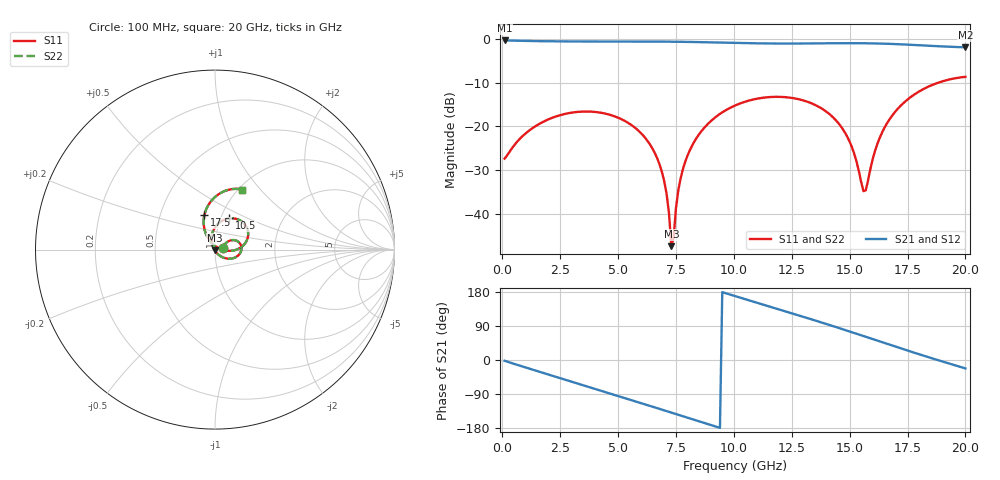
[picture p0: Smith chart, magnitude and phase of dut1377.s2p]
! Touchstone file exported from HFSS 2026.1.0
!  File:  C:/ffzhzh/LocalFiles/Ansys_Project_Files/temp_train_TSV_RDL_1377_1783347389_48288.aedt
!  Generated:  10:30:51 PM Jul  6, 2026
!  Design:  TSV_RDL
!  Project:  temp_train_TSV_RDL_1377_1783347389_48288
! Variables:
!  h_bsmrdl = 4.08um
!  h_ox = 20um
!  h_rdl = 5um
!  h_sub = 63.9um
!  h_tmrdl = 2.1um
!  h_tsv = 63.9um
!  h_via = 3um
!  l_bsmrdl = 523.56um
!  l_sub = 5550.65um
!  l_tmrdl = 868.81um
!  m_sub = 200um
!  pitch = 27.47um
!  r_tsv = 13.11um
!  s_tmrdl = 10um
!  w_bsmrdl = 18.26um
!  w_sub = 500um
!  w_tmrdl = 16.65um
!  x_tsv_center1 = 877.135um
!  x_tsv_center2 = 1418.955um
!  x_tsv_center3 = 2304.415um
!  x_tsv_center4 = 2846.235um
!  x_tsv_center5 = 3731.695um
!  x_tsv_center6 = 4273.515um
# GHz S MA R 50.000000
! Terminal data exported
! Port[1] = TM_RDL1_1_T1
! Port[2] = TM_RDL5_1_T1
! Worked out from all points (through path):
!   200 points, 100 MHz to 20 GHz, reference 50 ohm
!   highest |S21| = -0.37 dB at 100 MHz (marker M1); lowest = -1.9 dB at 20 GHz (marker M2)
!   group delay of S21, straight-line fit = 53 ps
!   lowest |S11| = -47.4 dB at 7.3 GHz (marker M3), VSWR 1.01, Z = 49.9 - j0.405 ohm
!   |S11| at or under -10 dB: start of sweep to 18.84 GHz
!   |S22| runs from -46.3 to -8.7 dB; largest |S21 - S12| = 1.6e-14
!   S11 on the Smith chart (normalised r, x): 100 MHz: 1.09, +0.02; 10.5 GHz: 1.10, +0.40; 17.5 GHz: 0.83, +0.33; 20 GHz: 1.04, +0.81
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0.1  0.04283 9.6  0.958 -2.1  0.958 -2.1  0.04283 9.6
! Gamma 0 0 0 0
! Port Impedance 50 0 50 0
1.5  0.1032 30.1  0.941 -29.0  0.941 -29.0  0.1032 30.1
3.5  0.1477 6.0  0.9317 -66.6  0.9317 -66.6  0.1478 5.9
5.6  0.1027 -29.3  0.9314 -106.2  0.9314 -106.2  0.1028 -29.6
6.8  0.03624 -54.1  0.93 -129.2  0.93 -129.2  0.03644 -55.0
7.1  0.01666 -65.8  0.9288 -135.0  0.9288 -135.0  0.01693 -67.7
7.3  0.004285 -108.5  0.9277 -138.8  0.9277 -138.8  0.004858 -112.0
7.4  0.005338 158.6  0.9271 -140.8  0.9271 -140.8  0.00565 164.4
7.5  0.01163 135.0  0.9265 -142.7  0.9265 -142.7  0.0117 138.1
7.7  0.0254 122.2  0.925 -146.6  0.925 -146.6  0.02536 123.7
8.1  0.05351 111.0  0.9216 -154.3  0.9216 -154.3  0.05343 111.7
8.9  0.108 94.6  0.9128 -169.6  0.9128 -169.6  0.108 94.9
10.1  0.1754 72.3  0.8978 167.7  0.8978 167.7  0.1754 72.5
10.5  0.1918 65.2  0.8932 160.3  0.8932 160.3  0.1918 65.3
13.4  0.1813 15.0  0.886 106.4  0.886 106.4  0.1814 15.0
14.8  0.08488 -4.5  0.8919 79.3  0.8919 79.3  0.08501 -4.7
15.2  0.04866 -2.9  0.8919 71.3  0.8919 71.3  0.04873 -3.4
15.6  0.01817 44.0  0.8904 63.2  0.8904 63.2  0.01787 43.0
16.2  0.06332 120.4  0.8847 51.1  0.8847 51.1  0.06298 120.7
16.7  0.1178 118.4  0.8767 41.0  0.8767 41.0  0.1175 118.6
17.5  0.2026 106.8  0.8586 25.0  0.8586 25.0  0.2023 107.0
20  0.3681 65.4  0.8007 -22.2  0.8007 -22.2  0.3678 65.4
